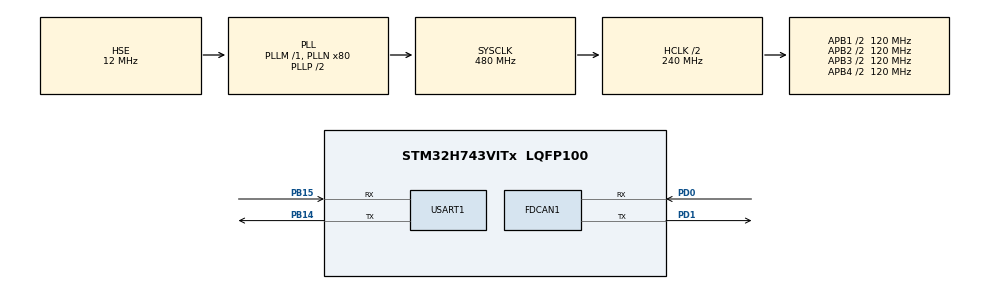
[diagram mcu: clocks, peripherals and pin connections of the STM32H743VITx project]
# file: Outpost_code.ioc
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CORTEX_M7.default_mode_Activation=1
Dma.Request0=USART1_RX
Dma.Request1=USART1_TX
Dma.USART1_RX.0.Direction=DMA_PERIPH_TO_MEMORY
Dma.USART1_RX.0.EventEnable=DISABLE
Dma.USART1_RX.0.FIFOMode=DMA_FIFOMODE_DISABLE
Dma.USART1_RX.0.Instance=DMA1_Stream0
Dma.USART1_RX.0.MemDataAlignment=DMA_MDATAALIGN_BYTE
Dma.USART1_RX.0.MemInc=DMA_MINC_ENABLE
Dma.USART1_RX.0.Mode=DMA_NORMAL
Dma.USART1_RX.0.PeriphDataAlignment=DMA_PDATAALIGN_BYTE
Dma.USART1_RX.0.PeriphInc=DMA_PINC_DISABLE
Dma.USART1_RX.0.Polarity=HAL_DMAMUX_REQ_GEN_RISING
Dma.USART1_RX.0.Priority=DMA_PRIORITY_LOW
Dma.USART1_RX.0.RequestNumber=1
Dma.USART1_RX.0.SignalID=NONE
Dma.USART1_RX.0.SyncEnable=DISABLE
Dma.USART1_RX.0.SyncPolarity=HAL_DMAMUX_SYNC_NO_EVENT
Dma.USART1_RX.0.SyncRequestNumber=1
Dma.USART1_RX.0.SyncSignalID=NONE
Dma.USART1_TX.1.Direction=DMA_MEMORY_TO_PERIPH
Dma.USART1_TX.1.EventEnable=DISABLE
Dma.USART1_TX.1.FIFOMode=DMA_FIFOMODE_DISABLE
Dma.USART1_TX.1.Instance=DMA1_Stream1
Dma.USART1_TX.1.MemDataAlignment=DMA_MDATAALIGN_BYTE
Dma.USART1_TX.1.MemInc=DMA_MINC_ENABLE
Dma.USART1_TX.1.Mode=DMA_NORMAL
Dma.USART1_TX.1.PeriphDataAlignment=DMA_PDATAALIGN_BYTE
Dma.USART1_TX.1.PeriphInc=DMA_PINC_DISABLE
Dma.USART1_TX.1.Polarity=HAL_DMAMUX_REQ_GEN_RISING
Dma.USART1_TX.1.Priority=DMA_PRIORITY_LOW
Dma.USART1_TX.1.RequestNumber=1
Dma.USART1_TX.1.SignalID=NONE
Dma.USART1_TX.1.SyncEnable=DISABLE
Dma.USART1_TX.1.SyncPolarity=HAL_DMAMUX_SYNC_NO_EVENT
Dma.USART1_TX.1.SyncRequestNumber=1
Dma.USART1_TX.1.SyncSignalID=NONE
FDCAN1.CalculateBaudRateNominal=1000000
FDCAN1.CalculateTimeBitNominal=1000
FDCAN1.CalculateTimeQuantumNominal=25.0
FDCAN1.DataPrescaler=3
FDCAN1.DataSyncJumpWidth=10
FDCAN1.DataTimeSeg1=29
FDCAN1.DataTimeSeg2=10
FDCAN1.NominalPrescaler=3
FDCAN1.NominalSyncJumpWidth=10
FDCAN1.NominalTimeSeg1=29
FDCAN1.NominalTimeSeg2=10
FDCAN1.RxFifo0ElmtsNbr=3
FDCAN1.StdFiltersNbr=1
FDCAN1.TxFifoQueueElmtsNbr=3
Mcu.Family=STM32H7
Mcu.Name=STM32H743VITx
Mcu.Package=LQFP100
NVIC.DMA1_Stream0_IRQn=true\:0\:0\:false\:false\:true\:false\:true\:true
NVIC.DMA1_Stream1_IRQn=true\:0\:0\:false\:false\:true\:false\:true\:true
NVIC.FDCAN1_IT0_IRQn=true\:0\:0\:false\:false\:true\:true\:true\:true
NVIC.FDCAN1_IT1_IRQn=true\:0\:0\:false\:false\:true\:true\:true\:true
NVIC.PriorityGroup=NVIC_PRIORITYGROUP_4
NVIC.USART1_IRQn=true\:0\:0\:false\:false\:true\:true\:true\:true
PB14.Mode=Asynchronous
PB14.Signal=USART1_TX
PB15.Mode=Asynchronous
PB15.Signal=USART1_RX
PD0.Mode=FDCAN_Activate
PD0.Signal=FDCAN1_RX
PD1.Mode=FDCAN_Activate
PD1.Signal=FDCAN1_TX
PH0-OSC_IN\ (PH0).Mode=HSE-External-Oscillator
PH0-OSC_IN\ (PH0).Signal=RCC_OSC_IN
PH1-OSC_OUT\ (PH1).Mode=HSE-External-Oscillator
PH1-OSC_OUT\ (PH1).Signal=RCC_OSC_OUT
ProjectManager.HeapSize=0x200
ProjectManager.StackSize=0x400
ProjectManager.TargetToolchain=MDK-ARM V5.32
RCC.ADCFreq_Value=24187500
RCC.APB1Freq_Value=120000000
RCC.APB2Freq_Value=120000000
RCC.APB3Freq_Value=120000000
RCC.APB4Freq_Value=120000000
RCC.CortexFreq_Value=480000000
RCC.D1PPRE=RCC_APB3_DIV2
RCC.D2PPRE1=RCC_APB1_DIV2
RCC.D2PPRE2=RCC_APB2_DIV2
RCC.D3PPRE=RCC_APB4_DIV2
RCC.DIVM1=1
RCC.DIVN1=80
RCC.DIVQ1=8
RCC.HCLKFreq_Value=240000000
RCC.HPRE=RCC_HCLK_DIV2
RCC.HSE_VALUE=12000000
RCC.PLL2FRACN=0
RCC.PLL3FRACN=0
RCC.PLLFRACN=0
RCC.PLLSourceVirtual=RCC_PLLSOURCE_HSE
RCC.SYSCLKFreq_VALUE=480000000
RCC.SYSCLKSource=RCC_SYSCLKSOURCE_PLLCLK
RCC.USBFreq_Value=120000000
USART1.VirtualMode-Asynchronous=VM_ASYNC
VP_MEMORYMAP_VS_MEMORYMAP.Mode=CurAppReg
board=custom

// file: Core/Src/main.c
/* USER CODE BEGIN Header */
/**
  ******************************************************************************
  * @file           : main.c
  * @brief          : Main program body
  * @author         : centre
  * @date           : 2025-08-21
  ******************************************************************************
  * @attention
  *
  * Copyright (c) 2025 STMicroelectronics.
  * All rights reserved.
  *
  * This software is licensed under terms that can be found in the LICENSE file
  * in the root directory of this software component.
  * If no LICENSE file comes with this software, it is provided AS-IS.
  *
  ******************************************************************************
  */
/* USER CODE END Header */
#include "main.h"
#include "dma.h"
#include "fdcan.h"
#include "memorymap.h"
#include "usart.h"
#include "gpio.h"

/* USER CODE BEGIN Includes */
#include "BSP_Fdcan.h"
#include "pid.h"
/* USER CODE END Includes */

/* USER CODE BEGIN PV */
int set_speed = 800;
uint32_t start_time;
pid_type_def motor_pid;
const motor_measure_t *motor_data;
const fp32 PID[4] = {6.0f, 0.1f, 1.0f, 0.01f};
int mode = 1; // 1为匀速，0为变速
/* USER CODE END PV */

void SystemClock_Config(void);
static void MPU_Config(void);
/* USER CODE BEGIN PFP */
void FDCAN_Init(void); // 添加FDCAN初始化函数声明
/* USER CODE END PFP */

int main(void)
{

  /* MPU Configuration--------------------------------------------------------*/
  MPU_Config();

  /* MCU Configuration--------------------------------------------------------*/

  /* Reset of all peripherals, Initializes the Flash interface and the Systick. */
  HAL_Init();

  /* Configure the system clock */
  SystemClock_Config();

  /* Initialize all configured peripherals */
  MX_GPIO_Init();
  MX_DMA_Init();
  MX_FDCAN1_Init();
  MX_USART1_UART_Init();
  /* USER CODE BEGIN 2 */
  FDCAN_Init(); // 初始化FDCAN
  PID_init(&motor_pid, PID_POSITION, PID, 16000, 2000);

  //motor_data = get_chassis_motor_measure_point(0);
  start_time = HAL_GetTick();
  /* USER CODE END 2 */

  /* Infinite loop */
  /* USER CODE BEGIN WHILE */
  while (1)
  {

     J4310_Enable();

    FDCAN_cmd_motor_speed(1, set_speed * 0.01f);
    HAL_Delay(1);
    /* USER CODE END WHILE */

  }
}

void SystemClock_Config(void)
{
  RCC_OscInitTypeDef RCC_OscInitStruct = {0};
  RCC_ClkInitTypeDef RCC_ClkInitStruct = {0};

  /** Supply configuration update enable
  */
  HAL_PWREx_ConfigSupply(PWR_LDO_SUPPLY);

  /** Configure the main internal regulator output voltage
  */
  __HAL_PWR_VOLTAGESCALING_CONFIG(PWR_REGULATOR_VOLTAGE_SCALE0);

  while(!__HAL_PWR_GET_FLAG(PWR_FLAG_VOSRDY)) {}

  /** Initializes the RCC Oscillators according to the specified parameters
  * in the RCC_OscInitTypeDef structure.
  */
  RCC_OscInitStruct.OscillatorType = RCC_OSCILLATORTYPE_HSE;
  RCC_OscInitStruct.HSEState = RCC_HSE_ON;
  RCC_OscInitStruct.PLL.PLLState = RCC_PLL_ON;
  RCC_OscInitStruct.PLL.PLLSource = RCC_PLLSOURCE_HSE;
  RCC_OscInitStruct.PLL.PLLM = 1;
  RCC_OscInitStruct.PLL.PLLN = 80;
  RCC_OscInitStruct.PLL.PLLP = 2;
  RCC_OscInitStruct.PLL.PLLQ = 8;
  RCC_OscInitStruct.PLL.PLLR = 2;
  RCC_OscInitStruct.PLL.PLLRGE = RCC_PLL1VCIRANGE_3;
  RCC_OscInitStruct.PLL.PLLVCOSEL = RCC_PLL1VCOWIDE;
  RCC_OscInitStruct.PLL.PLLFRACN = 0;
  if (HAL_RCC_OscConfig(&RCC_OscInitStruct) != HAL_OK)
  {
    Error_Handler();
  }

  /** Initializes the CPU, AHB and APB buses clocks
  */
  RCC_ClkInitStruct.ClockType = RCC_CLOCKTYPE_HCLK|RCC_CLOCKTYPE_SYSCLK
                              |RCC_CLOCKTYPE_PCLK1|RCC_CLOCKTYPE_PCLK2
                              |RCC_CLOCKTYPE_D3PCLK1|RCC_CLOCKTYPE_D1PCLK1;
  RCC_ClkInitStruct.SYSCLKSource = RCC_SYSCLKSOURCE_PLLCLK;
  RCC_ClkInitStruct.SYSCLKDivider = RCC_SYSCLK_DIV1;
  RCC_ClkInitStruct.AHBCLKDivider = RCC_HCLK_DIV2;
  RCC_ClkInitStruct.APB3CLKDivider = RCC_APB3_DIV2;
  RCC_ClkInitStruct.APB1CLKDivider = RCC_APB1_DIV2;
  RCC_ClkInitStruct.APB2CLKDivider = RCC_APB2_DIV2;
  RCC_ClkInitStruct.APB4CLKDivider = RCC_APB4_DIV2;

  if (HAL_RCC_ClockConfig(&RCC_ClkInitStruct, FLASH_LATENCY_4) != HAL_OK)
  {
    Error_Handler();
  }
}

/* MPU Configuration */

void MPU_Config(void)
{
  MPU_Region_InitTypeDef MPU_InitStruct = {0};

  /* Disables the MPU */
  HAL_MPU_Disable();

  /** Initializes and configures the Region and the memory to be protected
  */
  MPU_InitStruct.Enable = MPU_REGION_ENABLE;
  MPU_InitStruct.Number = MPU_REGION_NUMBER0;
  MPU_InitStruct.BaseAddress = 0x0;
  MPU_InitStruct.Size = MPU_REGION_SIZE_4GB;
  MPU_InitStruct.SubRegionDisable = 0x87;
  MPU_InitStruct.TypeExtField = MPU_TEX_LEVEL0;
  MPU_InitStruct.AccessPermission = MPU_REGION_NO_ACCESS;
  MPU_InitStruct.DisableExec = MPU_INSTRUCTION_ACCESS_DISABLE;
  MPU_InitStruct.IsShareable = MPU_ACCESS_SHAREABLE;
  MPU_InitStruct.IsCacheable = MPU_ACCESS_NOT_CACHEABLE;
  MPU_InitStruct.IsBufferable = MPU_ACCESS_NOT_BUFFERABLE;

  HAL_MPU_ConfigRegion(&MPU_InitStruct);
  /* Enables the MPU */
  HAL_MPU_Enable(MPU_PRIVILEGED_DEFAULT);
}

void Error_Handler(void)
{
  __disable_irq();
  while (1)
  {
  }
}
